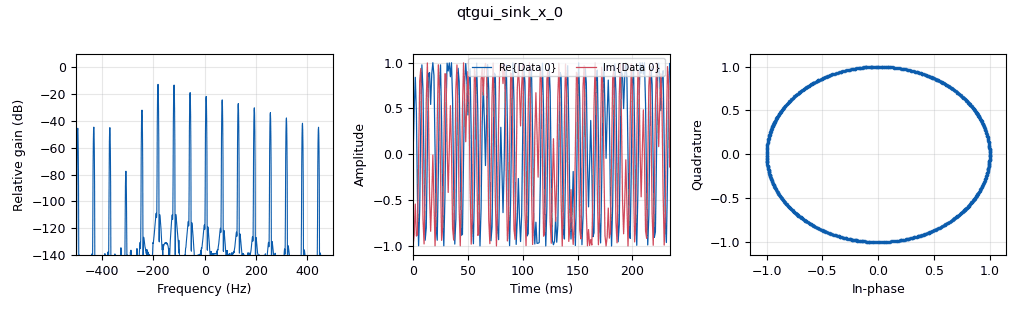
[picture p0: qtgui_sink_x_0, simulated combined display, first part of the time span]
options:
  parameters:
    generate_options: qt_gui
    id: EFR
    output_language: python
    title: Not titled yet
  states: {}

blocks:
- name: samp_rate
  id: variable
  parameters:
    value: '1000'
  states: {}
- name: blocks_throttle2_0
  id: blocks_throttle2
  parameters:
    samples_per_second: samp_rate
    type: complex
  states: {}
- name: blocks_vector_source_x_0
  id: blocks_vector_source_x
  parameters:
    repeat: 'True'
    type: byte
    vector: (1, 1, 1)
  states: {}
- name: digital_gfsk_mod_0
  id: digital_gfsk_mod
  parameters:
    bt: '0.35'
    samples_per_symbol: '2'
    sensitivity: '1.0'
  states: {}
- name: digital_map_bb_0
  id: digital_map_bb
  parameters:
    map: '[0, 1]'
  states: {}
- name: qtgui_sink_x_0
  id: qtgui_sink_x
  parameters:
    bw: samp_rate
    fc: '0'
    fftsize: '1024'
    type: complex
  states: {}

connections:
- [blocks_throttle2_0, '0', qtgui_sink_x_0, '0']
- [blocks_vector_source_x_0, '0', digital_map_bb_0, '0']
- [digital_gfsk_mod_0, '0', blocks_throttle2_0, '0']
- [digital_map_bb_0, '0', digital_gfsk_mod_0, '0']

metadata:
  file_format: 1
  grc_version: 3.10.9.2
